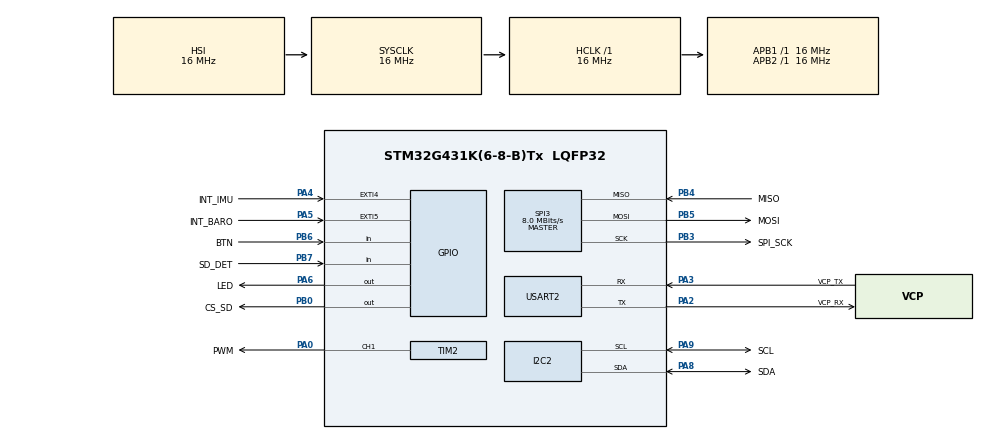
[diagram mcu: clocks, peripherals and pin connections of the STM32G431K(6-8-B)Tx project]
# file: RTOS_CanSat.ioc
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FREERTOS.Tasks01=HeartbeatTask,8,512,StartHeartbeatTask,Default,NULL,Dynamic,NULL,NULL
FREERTOS.configTIMER_TASK_PRIORITY=40
FREERTOS.configTOTAL_HEAP_SIZE=15360
FREERTOS.configUSE_NEWLIB_REENTRANT=1
I2C2.Timing=0x00503D58
Mcu.Family=STM32G4
Mcu.Name=STM32G431K(6-8-B)Tx
Mcu.Package=LQFP32
NVIC.PriorityGroup=NVIC_PRIORITYGROUP_4
NVIC.TIM6_DAC_IRQn=true\:15\:0\:false\:false\:true\:false\:false\:true\:true
NVIC.TimeBase=TIM6_DAC_IRQn
NVIC.TimeBaseIP=TIM6
PA0.GPIO_Label=PWM
PA0.Signal=S_TIM2_CH1
PA1.GPIO_Label=MesBat
PA1.Signal=ADC1_IN2
PA2.GPIO_Label=VCP_RX
PA2.Mode=Asynchronous
PA2.Signal=USART2_TX
PA3.GPIO_Label=VCP_TX
PA3.Mode=Asynchronous
PA3.Signal=USART2_RX
PA4.GPIO_Label=INT_IMU
PA4.Signal=GPXTI4
PA5.GPIO_Label=INT_BARO
PA5.Signal=GPXTI5
PA6.GPIO_Label=LED
PA6.Signal=GPIO_Output
PA8.GPIO_Label=SDA
PA8.Mode=I2C
PA8.Signal=I2C2_SDA
PA9.GPIO_Label=SCL
PA9.Mode=I2C
PA9.Signal=I2C2_SCL
PB0.GPIO_Label=CS_SD
PB0.Signal=GPIO_Output
PB3.GPIO_Label=SPI_SCK
PB3.Mode=Full_Duplex_Master
PB3.Signal=SPI3_SCK
PB4.GPIO_Label=MISO
PB4.Mode=Full_Duplex_Master
PB4.Signal=SPI3_MISO
PB5.GPIO_Label=MOSI
PB5.Mode=Full_Duplex_Master
PB5.Signal=SPI3_MOSI
PB6.GPIO_Label=BTN
PB6.Signal=GPIO_Input
PB7.GPIO_Label=SD_DET
PB7.Signal=GPIO_Input
PF0-OSC_IN.Mode=HSE-External-Oscillator
PF0-OSC_IN.Signal=RCC_OSC_IN
PF1-OSC_OUT.Mode=HSE-External-Oscillator
PF1-OSC_OUT.Signal=RCC_OSC_OUT
ProjectManager.HeapSize=0x200
ProjectManager.StackSize=0x400
ProjectManager.TargetToolchain=STM32CubeIDE
RCC.AHBFreq_Value=16000000
RCC.APB1Freq_Value=16000000
RCC.APB1TimFreq_Value=16000000
RCC.APB2Freq_Value=16000000
RCC.APB2TimFreq_Value=16000000
RCC.CortexFreq_Value=16000000
RCC.EXTERNAL_CLOCK_VALUE=12288000
RCC.HCLKFreq_Value=16000000
RCC.HSE_VALUE=8000000
RCC.HSI48_VALUE=48000000
RCC.HSI_VALUE=16000000
RCC.LSE_VALUE=32768
RCC.SYSCLKFreq_VALUE=16000000
RCC.USBFreq_Value=64000000
RCC.VCOOutputFreq_Value=128000000
SH.S_TIM2_CH1.0=TIM2_CH1,PWM Generation1 CH1
SPI3.CalculateBaudRate=8.0 MBits/s
SPI3.DataSize=SPI_DATASIZE_8BIT
SPI3.Direction=SPI_DIRECTION_2LINES
SPI3.Mode=SPI_MODE_MASTER
SPI3.VirtualType=VM_MASTER
TIM2.AutoReloadPreload=TIM_AUTORELOAD_PRELOAD_ENABLE
TIM2.Channel-PWM\ Generation1\ CH1=TIM_CHANNEL_1
TIM2.PeriodNoDither=19999
TIM2.Prescaler=15
TIM2.PulseNoDither_1=1500
USART2.VirtualMode-Asynchronous=VM_ASYNC
VP_FREERTOS_VS_CMSIS_V2.Mode=CMSIS_V2
VP_SYS_VS_DBSignals.Mode=DisableDeadBatterySignals
VP_SYS_VS_tim6.Mode=TIM6
VP_TIM2_VS_ClockSourceINT.Mode=Internal
board=custom

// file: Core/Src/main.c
/* USER CODE BEGIN Header */
/**
  ******************************************************************************
  * @file           : main.c
  * @brief          : Main program body
  ******************************************************************************
  * @attention
  *
  * Copyright (c) 2026 STMicroelectronics.
  * All rights reserved.
  *
  * This software is licensed under terms that can be found in the LICENSE file
  * in the root directory of this software component.
  * If no LICENSE file comes with this software, it is provided AS-IS.
  *
  ******************************************************************************
  */
/* USER CODE END Header */
#include "main.h"
#include "cmsis_os.h"

/* USER CODE BEGIN Includes */
#include <stdio.h>
#include "FreeRTOS.h"
#include "task.h"
#include "moteur.h"

/* USER CODE END Includes */

/* USER CODE BEGIN PD */
#define LED_Pin GPIO_PIN_6
#define LED_GPIO_Port GPIOA

/* USER CODE END PD */

I2C_HandleTypeDef hi2c2;

SPI_HandleTypeDef hspi3;

TIM_HandleTypeDef htim2;

UART_HandleTypeDef huart2;

/* Definitions for HeartbeatTask */
osThreadId_t HeartbeatTaskHandle;
const osThreadAttr_t HeartbeatTask_attributes = {
  .name = "HeartbeatTask",
  .priority = (osPriority_t) osPriorityLow,
  .stack_size = 512 * 4
};

void SystemClock_Config(void);
static void MX_GPIO_Init(void);
static void MX_I2C2_Init(void);
static void MX_SPI3_Init(void);
static void MX_USART2_UART_Init(void);
static void MX_TIM2_Init(void);
void StartHeartbeatTask(void *argument);

/* USER CODE BEGIN 0 */

int __io_putchar(int ch)
{
  HAL_UART_Transmit(&huart2, (uint8_t *)&ch, 1, HAL_MAX_DELAY);
  return ch;
}

/* USER CODE END 0 */

int main(void)
{

  /* MCU Configuration--------------------------------------------------------*/

  /* Reset of all peripherals, Initializes the Flash interface and the Systick. */
  HAL_Init();

  /* Configure the system clock */
  SystemClock_Config();

  /* Initialize all configured peripherals */
  MX_GPIO_Init();
  MX_I2C2_Init();
  MX_SPI3_Init();
  MX_USART2_UART_Init();
  MX_TIM2_Init();

  /* Init scheduler */
  osKernelInitialize();

  /* USER CODE BEGIN RTOS_TIMERS */
  /* start timers, add new ones, ... */

  Moteur_Init();

  /* USER CODE END RTOS_TIMERS */

  /* Create the thread(s) */
  /* creation of HeartbeatTask */
  HeartbeatTaskHandle = osThreadNew(StartHeartbeatTask, NULL, &HeartbeatTask_attributes);

  /* Start scheduler */
  osKernelStart();

  /* We should never get here as control is now taken by the scheduler */

  /* Infinite loop */
  while (1)
  {

  }
}

void SystemClock_Config(void)
{
  RCC_OscInitTypeDef RCC_OscInitStruct = {0};
  RCC_ClkInitTypeDef RCC_ClkInitStruct = {0};

  /** Configure the main internal regulator output voltage
  */
  HAL_PWREx_ControlVoltageScaling(PWR_REGULATOR_VOLTAGE_SCALE1);

  /** Initializes the RCC Oscillators according to the specified parameters
  * in the RCC_OscInitTypeDef structure.
  */
  RCC_OscInitStruct.OscillatorType = RCC_OSCILLATORTYPE_HSI;
  RCC_OscInitStruct.HSIState = RCC_HSI_ON;
  RCC_OscInitStruct.HSICalibrationValue = RCC_HSICALIBRATION_DEFAULT;
  RCC_OscInitStruct.PLL.PLLState = RCC_PLL_NONE;
  if (HAL_RCC_OscConfig(&RCC_OscInitStruct) != HAL_OK)
  {
    Error_Handler();
  }

  /** Initializes the CPU, AHB and APB buses clocks
  */
  RCC_ClkInitStruct.ClockType = RCC_CLOCKTYPE_HCLK|RCC_CLOCKTYPE_SYSCLK
                              |RCC_CLOCKTYPE_PCLK1|RCC_CLOCKTYPE_PCLK2;
  RCC_ClkInitStruct.SYSCLKSource = RCC_SYSCLKSOURCE_HSI;
  RCC_ClkInitStruct.AHBCLKDivider = RCC_SYSCLK_DIV1;
  RCC_ClkInitStruct.APB1CLKDivider = RCC_HCLK_DIV1;
  RCC_ClkInitStruct.APB2CLKDivider = RCC_HCLK_DIV1;

  if (HAL_RCC_ClockConfig(&RCC_ClkInitStruct, FLASH_LATENCY_0) != HAL_OK)
  {
    Error_Handler();
  }
}

static void MX_I2C2_Init(void)
{

  hi2c2.Instance = I2C2;
  hi2c2.Init.Timing = 0x00503D58;
  hi2c2.Init.OwnAddress1 = 0;
  hi2c2.Init.AddressingMode = I2C_ADDRESSINGMODE_7BIT;
  hi2c2.Init.DualAddressMode = I2C_DUALADDRESS_DISABLE;
  hi2c2.Init.OwnAddress2 = 0;
  hi2c2.Init.OwnAddress2Masks = I2C_OA2_NOMASK;
  hi2c2.Init.GeneralCallMode = I2C_GENERALCALL_DISABLE;
  hi2c2.Init.NoStretchMode = I2C_NOSTRETCH_DISABLE;
  if (HAL_I2C_Init(&hi2c2) != HAL_OK)
  {
    Error_Handler();
  }

  /** Configure Analogue filter
  */
  if (HAL_I2CEx_ConfigAnalogFilter(&hi2c2, I2C_ANALOGFILTER_ENABLE) != HAL_OK)
  {
    Error_Handler();
  }

  /** Configure Digital filter
  */
  if (HAL_I2CEx_ConfigDigitalFilter(&hi2c2, 0) != HAL_OK)
  {
    Error_Handler();
  }

}

static void MX_SPI3_Init(void)
{

  /* SPI3 parameter configuration*/
  hspi3.Instance = SPI3;
  hspi3.Init.Mode = SPI_MODE_MASTER;
  hspi3.Init.Direction = SPI_DIRECTION_2LINES;
  hspi3.Init.DataSize = SPI_DATASIZE_8BIT;
  hspi3.Init.CLKPolarity = SPI_POLARITY_LOW;
  hspi3.Init.CLKPhase = SPI_PHASE_1EDGE;
  hspi3.Init.NSS = SPI_NSS_SOFT;
  hspi3.Init.BaudRatePrescaler = SPI_BAUDRATEPRESCALER_2;
  hspi3.Init.FirstBit = SPI_FIRSTBIT_MSB;
  hspi3.Init.TIMode = SPI_TIMODE_DISABLE;
  hspi3.Init.CRCCalculation = SPI_CRCCALCULATION_DISABLE;
  hspi3.Init.CRCPolynomial = 7;
  hspi3.Init.CRCLength = SPI_CRC_LENGTH_DATASIZE;
  hspi3.Init.NSSPMode = SPI_NSS_PULSE_ENABLE;
  if (HAL_SPI_Init(&hspi3) != HAL_OK)
  {
    Error_Handler();
  }

}

static void MX_TIM2_Init(void)
{

  TIM_ClockConfigTypeDef sClockSourceConfig = {0};
  TIM_MasterConfigTypeDef sMasterConfig = {0};
  TIM_OC_InitTypeDef sConfigOC = {0};

  htim2.Instance = TIM2;
  htim2.Init.Prescaler = 15;
  htim2.Init.CounterMode = TIM_COUNTERMODE_UP;
  htim2.Init.Period = 19999;
  htim2.Init.ClockDivision = TIM_CLOCKDIVISION_DIV1;
  htim2.Init.AutoReloadPreload = TIM_AUTORELOAD_PRELOAD_ENABLE;
  if (HAL_TIM_Base_Init(&htim2) != HAL_OK)
  {
    Error_Handler();
  }
  sClockSourceConfig.ClockSource = TIM_CLOCKSOURCE_INTERNAL;
  if (HAL_TIM_ConfigClockSource(&htim2, &sClockSourceConfig) != HAL_OK)
  {
    Error_Handler();
  }
  if (HAL_TIM_PWM_Init(&htim2) != HAL_OK)
  {
    Error_Handler();
  }
  sMasterConfig.MasterOutputTrigger = TIM_TRGO_RESET;
  sMasterConfig.MasterSlaveMode = TIM_MASTERSLAVEMODE_DISABLE;
  if (HAL_TIMEx_MasterConfigSynchronization(&htim2, &sMasterConfig) != HAL_OK)
  {
    Error_Handler();
  }
  sConfigOC.OCMode = TIM_OCMODE_PWM1;
  sConfigOC.Pulse = 1500;
  sConfigOC.OCPolarity = TIM_OCPOLARITY_HIGH;
  sConfigOC.OCFastMode = TIM_OCFAST_DISABLE;
  if (HAL_TIM_PWM_ConfigChannel(&htim2, &sConfigOC, TIM_CHANNEL_1) != HAL_OK)
  {
    Error_Handler();
  }
  HAL_TIM_MspPostInit(&htim2);

}

static void MX_USART2_UART_Init(void)
{

  huart2.Instance = USART2;
  huart2.Init.BaudRate = 115200;
  huart2.Init.WordLength = UART_WORDLENGTH_8B;
  huart2.Init.StopBits = UART_STOPBITS_1;
  huart2.Init.Parity = UART_PARITY_NONE;
  huart2.Init.Mode = UART_MODE_TX_RX;
  huart2.Init.HwFlowCtl = UART_HWCONTROL_NONE;
  huart2.Init.OverSampling = UART_OVERSAMPLING_16;
  huart2.Init.OneBitSampling = UART_ONE_BIT_SAMPLE_DISABLE;
  huart2.Init.ClockPrescaler = UART_PRESCALER_DIV1;
  huart2.AdvancedInit.AdvFeatureInit = UART_ADVFEATURE_NO_INIT;
  if (HAL_UART_Init(&huart2) != HAL_OK)
  {
    Error_Handler();
  }
  if (HAL_UARTEx_SetTxFifoThreshold(&huart2, UART_TXFIFO_THRESHOLD_1_8) != HAL_OK)
  {
    Error_Handler();
  }
  if (HAL_UARTEx_SetRxFifoThreshold(&huart2, UART_RXFIFO_THRESHOLD_1_8) != HAL_OK)
  {
    Error_Handler();
  }
  if (HAL_UARTEx_DisableFifoMode(&huart2) != HAL_OK)
  {
    Error_Handler();
  }

}

static void MX_GPIO_Init(void)
{
  GPIO_InitTypeDef GPIO_InitStruct = {0};

  /* GPIO Ports Clock Enable */
  __HAL_RCC_GPIOF_CLK_ENABLE();
  __HAL_RCC_GPIOA_CLK_ENABLE();
  __HAL_RCC_GPIOB_CLK_ENABLE();

  /*Configure GPIO pin Output Level */
  HAL_GPIO_WritePin(LED_GPIO_Port, LED_Pin, GPIO_PIN_RESET);

  /*Configure GPIO pin Output Level */
  HAL_GPIO_WritePin(CS_SD_GPIO_Port, CS_SD_Pin, GPIO_PIN_RESET);

  /*Configure GPIO pin : MesBat_Pin */
  GPIO_InitStruct.Pin = MesBat_Pin;
  GPIO_InitStruct.Mode = GPIO_MODE_ANALOG;
  GPIO_InitStruct.Pull = GPIO_NOPULL;
  HAL_GPIO_Init(MesBat_GPIO_Port, &GPIO_InitStruct);

  /*Configure GPIO pins : INT_IMU_Pin INT_BARO_Pin */
  GPIO_InitStruct.Pin = INT_IMU_Pin|INT_BARO_Pin;
  GPIO_InitStruct.Mode = GPIO_MODE_IT_RISING;
  GPIO_InitStruct.Pull = GPIO_NOPULL;
  HAL_GPIO_Init(GPIOA, &GPIO_InitStruct);

  /*Configure GPIO pin : LED_Pin */
  GPIO_InitStruct.Pin = LED_Pin;
  GPIO_InitStruct.Mode = GPIO_MODE_OUTPUT_PP;
  GPIO_InitStruct.Pull = GPIO_NOPULL;
  GPIO_InitStruct.Speed = GPIO_SPEED_FREQ_LOW;
  HAL_GPIO_Init(LED_GPIO_Port, &GPIO_InitStruct);

  /*Configure GPIO pin : CS_SD_Pin */
  GPIO_InitStruct.Pin = CS_SD_Pin;
  GPIO_InitStruct.Mode = GPIO_MODE_OUTPUT_PP;
  GPIO_InitStruct.Pull = GPIO_NOPULL;
  GPIO_InitStruct.Speed = GPIO_SPEED_FREQ_LOW;
  HAL_GPIO_Init(CS_SD_GPIO_Port, &GPIO_InitStruct);

  /*Configure GPIO pins : BTN_Pin SD_DET_Pin */
  GPIO_InitStruct.Pin = BTN_Pin|SD_DET_Pin;
  GPIO_InitStruct.Mode = GPIO_MODE_INPUT;
  GPIO_InitStruct.Pull = GPIO_NOPULL;
  HAL_GPIO_Init(GPIOB, &GPIO_InitStruct);

}

void StartHeartbeatTask(void *argument)
{
  /* USER CODE BEGIN 5 */

	TickType_t xLastWake = xTaskGetTickCount();
	uint32_t n = 0;

  /* Infinite loop */
  for(;;)
  {
	  HAL_GPIO_TogglePin(LED_GPIO_Port, LED_Pin);
	  printf("Heartbeat %lu\r\n", (unsigned long)n++);
	  vTaskDelayUntil(&xLastWake, pdMS_TO_TICKS(500));
  }
  /* USER CODE END 5 */
}

void HAL_TIM_PeriodElapsedCallback(TIM_HandleTypeDef *htim)
{
  if (htim->Instance == TIM6)
  {
    HAL_IncTick();
  }
}

void Error_Handler(void)
{
  __disable_irq();
  while (1)
  {
  }
}
